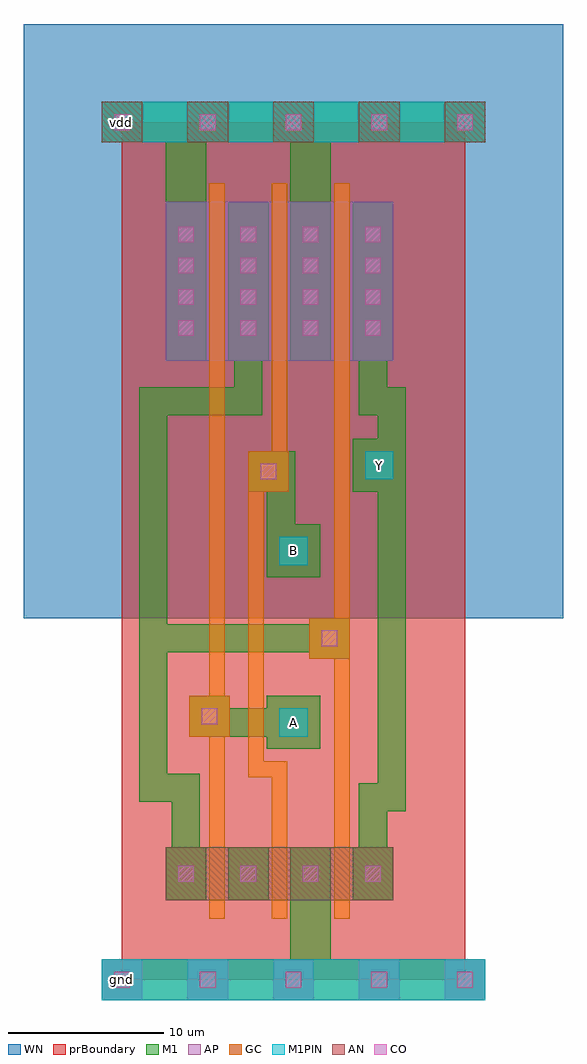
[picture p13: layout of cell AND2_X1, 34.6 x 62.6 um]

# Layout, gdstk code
import gdstk
lib = gdstk.Library(unit=1e-6, precision=1e-09)
def R(c, l, rs):  # rectangles x0, y0, x1, y1
    for r in rs: c.add(gdstk.rectangle(r[:2], r[2:], *l))
def A(c, l, x, y, w, h, nx, ny, dx, dy):  # array of equal rectangles
    R(c, l, [(x+i*dx, y+j*dy, x+i*dx+w, y+j*dy+h) for i in range(nx) for j in range(ny)])
def P(c, l, *ps):  # polygons
    for p in ps: c.add(gdstk.Polygon(p, *l))
AP = (3, 1)
AN = (3, 2)
GC = (8, 1)
CO = (11, 0)
M1 = (13, 0)
M1PIN = (48, 1)
WN = (140, 0)
prBoundary = (235, 0)

and2_x1 = lib.new_cell('AND2_X1')
A(and2_x1, AP, -1.3, -1.3, 2.6, 2.6, 5, 1, 5.5, 0)
R(and2_x1, AP, [(2.8,39.7,17.4,49.9), (2.8,39.7,17.4,49.9)])
A(and2_x1, AN, -1.3, 53.7, 2.6, 2.6, 5, 1, 5.5, 0)
R(and2_x1, AN, [(2.8,5.1,17.4,8.5)])
P(and2_x1, GC, [(5.6,3.9),(5.6,15.6),(4.3,15.6),(4.3,18.2),(5.6,18.2),(5.6,51.1),(6.6,51.1),(6.6,18.2),(6.9,18.2),(6.9,15.6),(6.6,15.6),(6.6,3.9)],
  [(9.6,3.9),(9.6,13),(8.1,13),(8.1,33.9),(9.6,33.9),(9.6,51.1),(10.6,51.1),(10.6,33.9),(10.7,33.9),(10.7,31.3),(9.1,31.3),(9.1,14),(10.6,14),(10.6,3.9)],
  [(13.6,3.9),(13.6,20.6),(12,20.6),(12,23.2),(13.6,23.2),(13.6,51.1),(14.6,51.1),(14.6,3.9)])
A(and2_x1, CO, -0.5, -0.5, 1, 1, 5, 2, 5.5, 55)
A(and2_x1, CO, 3.6, 41.3, 1, 1, 1, 4, 0, 2)
A(and2_x1, CO, 15.6, 41.3, 1, 1, 1, 4, 0, 2)
R(and2_x1, CO, [(3.6,6.3,4.6,7.3), (7.6,6.3,8.6,7.3), (7.6,6.3,8.6,7.3), (11.6,6.3,12.6,7.3), (11.6,6.3,12.6,7.3), (15.6,6.3,16.6,7.3), (5.1,16.4,6.1,17.4), (12.8,21.4,13.8,22.4), (8.9,32.1,9.9,33.1), (7.6,41.3,8.6,42.3), (7.6,41.3,8.6,42.3), (11.6,41.3,12.6,42.3), (11.6,41.3,12.6,42.3), (7.6,43.3,8.6,44.3), (7.6,43.3,8.6,44.3), (11.6,43.3,12.6,44.3), (11.6,43.3,12.6,44.3), (7.6,45.3,8.6,46.3), (7.6,45.3,8.6,46.3), (11.6,45.3,12.6,46.3), (11.6,45.3,12.6,46.3), (7.6,47.3,8.6,48.3), (7.6,47.3,8.6,48.3), (11.6,47.3,12.6,48.3), (11.6,47.3,12.6,48.3)])
R(and2_x1, M1, [(6.8,5.1,9.4,8.5)])
P(and2_x1, M1, [(-1.3,-1.3),(-1.3,1.3),(10.8,1.3),(10.8,8.5),(13.4,8.5),(13.4,1.3),(23.3,1.3),(23.3,-1.3)],
  [(9.3,14.8),(9.3,15.6),(4.3,15.6),(4.3,18.2),(6.9,18.2),(6.9,17.4),(9.3,17.4),(9.3,18.2),(12.7,18.2),(12.7,14.8)],
  [(9.3,25.8),(9.3,31.3),(8.1,31.3),(8.1,33.9),(11.1,33.9),(11.1,29.2),(12.7,29.2),(12.7,25.8)],
  [(2.8,5.1),(2.8,8.5),(3.2,8.5),(3.2,11.4),(1.1,11.4),(1.1,38),(7.2,38),(7.2,39.7),(6.8,39.7),(6.8,49.9),(9.4,49.9),(9.4,39.7),(9,39.7),(9,36.2),(2.9,36.2),(2.9,22.8),(12,22.8),(12,23.2),(14.6,23.2),(14.6,20.6),(12,20.6),(12,21),(2.9,21),(2.9,13.2),(5,13.2),(5,8.5),(5.4,8.5),(5.4,5.1)],
  [(14.8,5.1),(14.8,8.5),(15.2,8.5),(15.2,12.6),(16.4,12.6),(16.4,31.3),(14.8,31.3),(14.8,34.7),(16.4,34.7),(16.4,36.2),(15.2,36.2),(15.2,39.7),(14.8,39.7),(14.8,49.9),(17.4,49.9),(17.4,39.7),(17,39.7),(17,38),(18.2,38),(18.2,10.8),(17,10.8),(17,8.5),(17.4,8.5),(17.4,5.1)],
  [(2.8,39.7),(2.8,53.7),(-1.3,53.7),(-1.3,56.3),(23.3,56.3),(23.3,53.7),(13.4,53.7),(13.4,39.7),(10.8,39.7),(10.8,53.7),(5.4,53.7),(5.4,39.7)])
R(and2_x1, M1PIN, [(-1.3,-1.3,23.3,1.3), (10.1,15.6,11.9,17.4), (10.1,26.6,11.9,28.4), (15.6,32.1,17.4,33.9), (-1.3,53.7,23.3,56.3)])
R(and2_x1, WN, [(-6.3,23.2,28.3,61.3)])
R(and2_x1, prBoundary, [(0,0,22,55)])
and2_x1.add(gdstk.Label('vdd', (0,55), layer=48, texttype=0))
and2_x1.add(gdstk.Label('gnd', (0,0), layer=48, texttype=0))
and2_x1.add(gdstk.Label('Y', (16.5,33), layer=48, texttype=0))
and2_x1.add(gdstk.Label('A', (11,16.5), layer=48, texttype=0))
and2_x1.add(gdstk.Label('B', (11,27.5), layer=48, texttype=0))

lib.write_gds('AND2_X1.gds')
